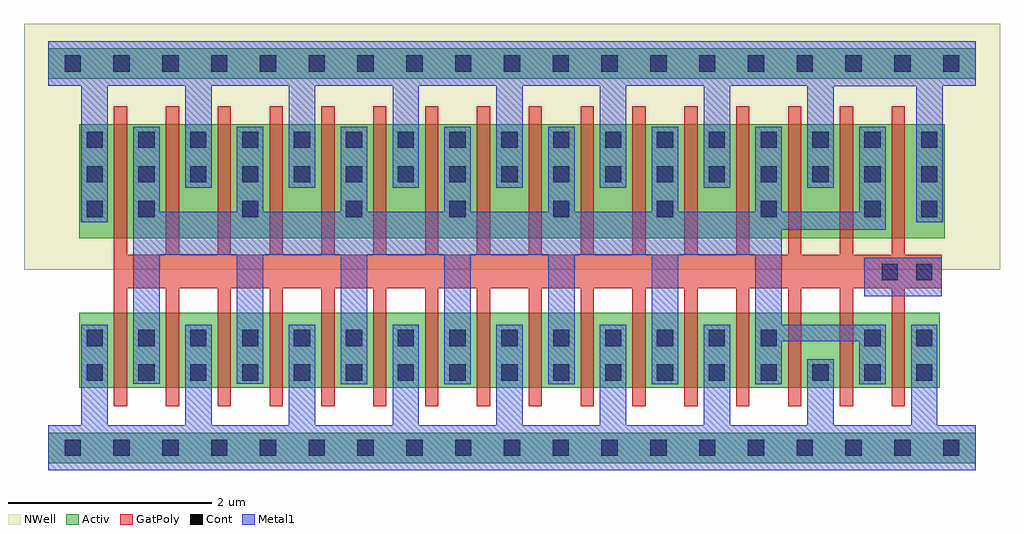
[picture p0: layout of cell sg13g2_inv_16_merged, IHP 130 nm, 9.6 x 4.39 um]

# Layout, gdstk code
import gdstk
lib = gdstk.Library(unit=1e-6, precision=1e-09)
def R(c, l, rs):  # rectangles x0, y0, x1, y1
    for r in rs: c.add(gdstk.rectangle(r[:2], r[2:], *l))
def A(c, l, x, y, w, h, nx, ny, dx, dy):  # array of equal rectangles
    R(c, l, [(x+i*dx, y+j*dy, x+i*dx+w, y+j*dy+h) for i in range(nx) for j in range(ny)])
def P(c, l, *ps):  # polygons
    for p in ps: c.add(gdstk.Polygon(p, *l))
Activ = (1, 0)
GatPoly = (5, 0)
Cont = (6, 0)
Metal1 = (8, 0)
NWell = (31, 0)

sg13g2_inv_16_merged = lib.new_cell('sg13g2_inv_16_merged')
R(sg13g2_inv_16_merged, Activ, [(0,-0.15,9.12,0.15), (0.305,0.59,8.765,1.33), (0.305,2.06,8.815,3.18), (0,3.63,9.12,3.93)])
P(sg13g2_inv_16_merged, GatPoly, [(0.645,0.41),(0.645,3.36),(0.775,3.36),(0.775,1.9),(1.155,1.9),(1.155,3.36),(1.285,3.36),(1.285,1.9),(1.665,1.9),(1.665,3.36),(1.795,3.36),(1.795,1.9),(2.175,1.9),(2.175,3.36),(2.305,3.36),(2.305,1.9),(2.685,1.9),(2.685,3.36),(2.815,3.36),(2.815,1.9),(3.195,1.9),(3.195,3.36),(3.325,3.36),(3.325,1.9),(3.705,1.9),(3.705,3.36),(3.835,3.36),(3.835,1.9),(4.215,1.9),(4.215,3.36),(4.345,3.36),(4.345,1.9),(4.725,1.9),(4.725,3.36),(4.855,3.36),(4.855,1.9),(5.235,1.9),(5.235,3.36),(5.365,3.36),(5.365,1.9),(5.745,1.9),(5.745,3.36),(5.875,3.36),(5.875,1.9),(6.255,1.9),(6.255,3.36),(6.385,3.36),(6.385,1.9),(6.765,1.9),(6.765,3.36),(6.895,3.36),(6.895,1.9),(7.275,1.9),(7.275,3.36),(7.405,3.36),(7.405,1.9),(7.785,1.9),(7.785,3.36),(7.915,3.36),(7.915,1.9),(8.295,1.9),(8.295,3.36),(8.425,3.36),(8.425,1.9),(8.785,1.9),(8.785,1.57),(8.425,1.57),(8.425,0.41),(8.295,0.41),(8.295,1.57),(7.915,1.57),(7.915,0.41),(7.785,0.41),(7.785,1.57),(7.405,1.57),(7.405,0.41),(7.275,0.41),(7.275,1.57),(6.895,1.57),(6.895,0.41),(6.765,0.41),(6.765,1.57),(6.385,1.57),(6.385,0.41),(6.255,0.41),(6.255,1.57),(5.875,1.57),(5.875,0.41),(5.745,0.41),(5.745,1.57),(5.365,1.57),(5.365,0.41),(5.235,0.41),(5.235,1.57),(4.855,1.57),(4.855,0.41),(4.725,0.41),(4.725,1.57),(4.345,1.57),(4.345,0.41),(4.215,0.41),(4.215,1.57),(3.835,1.57),(3.835,0.41),(3.705,0.41),(3.705,1.57),(3.325,1.57),(3.325,0.41),(3.195,0.41),(3.195,1.57),(2.815,1.57),(2.815,0.41),(2.685,0.41),(2.685,1.57),(2.305,1.57),(2.305,0.41),(2.175,0.41),(2.175,1.57),(1.795,1.57),(1.795,0.41),(1.665,0.41),(1.665,1.57),(1.285,1.57),(1.285,0.41),(1.155,0.41),(1.155,1.57),(0.775,1.57),(0.775,0.41)])
A(sg13g2_inv_16_merged, Cont, 0.16, -0.08, 0.16, 0.16, 19, 2, 0.48, 3.78)
A(sg13g2_inv_16_merged, Cont, 0.375, 0.66, 0.16, 0.16, 17, 1, 0.51, 0)
A(sg13g2_inv_16_merged, Cont, 0.375, 1, 0.16, 0.16, 14, 1, 0.51, 0)
A(sg13g2_inv_16_merged, Cont, 0.885, 2.27, 0.16, 0.16, 8, 1, 1.02, 0)
A(sg13g2_inv_16_merged, Cont, 8.585, 2.27, 0.16, 0.16, 1, 3, 0, 0.34)
A(sg13g2_inv_16_merged, Cont, 0.375, 2.61, 0.16, 0.16, 16, 2, 0.51, 0.34)
R(sg13g2_inv_16_merged, Cont, [(8.025,1,8.185,1.16), (8.535,1,8.695,1.16), (8.195,1.65,8.355,1.81), (8.535,1.65,8.695,1.81), (0.375,2.27,0.535,2.43)])
R(sg13g2_inv_16_merged, Metal1, [(8.025,1.49,8.785,1.87)])
P(sg13g2_inv_16_merged, Metal1, [(0,-0.22),(0,0.22),(0.325,0.22),(0.325,1.21),(0.585,1.21),(0.585,0.22),(1.345,0.22),(1.345,1.21),(1.605,1.21),(1.605,0.22),(2.365,0.22),(2.365,1.21),(2.625,1.21),(2.625,0.22),(3.385,0.22),(3.385,1.21),(3.645,1.21),(3.645,0.22),(4.405,0.22),(4.405,1.21),(4.665,1.21),(4.665,0.22),(5.425,0.22),(5.425,1.21),(5.685,1.21),(5.685,0.22),(6.445,0.22),(6.445,1.21),(6.705,1.21),(6.705,0.22),(7.465,0.22),(7.465,0.87),(7.725,0.87),(7.725,0.22),(8.485,0.22),(8.485,1.21),(8.745,1.21),(8.745,0.22),(9.12,0.22),(9.12,-0.22)],
  [(2.875,0.625),(2.875,1.9),(2.115,1.9),(2.115,0.63),(1.855,0.63),(1.855,1.9),(1.095,1.9),(1.095,0.63),(0.835,0.63),(0.835,3.16),(1.095,3.16),(1.095,2.32),(1.855,2.32),(1.855,3.16),(2.115,3.16),(2.115,2.32),(2.875,2.32),(2.875,3.16),(3.135,3.16),(3.135,2.32),(3.895,2.32),(3.895,3.16),(4.155,3.16),(4.155,2.32),(4.915,2.32),(4.915,3.16),(5.175,3.16),(5.175,2.32),(5.935,2.32),(5.935,3.16),(6.195,3.16),(6.195,2.32),(6.955,2.32),(6.955,3.16),(7.215,3.16),(7.215,2.32),(7.975,2.32),(7.975,3.16),(8.235,3.16),(8.235,2.145),(7.215,2.145),(7.215,1.21),(8.235,1.21),(8.235,0.625),(7.975,0.625),(7.975,1.05),(7.215,1.05),(7.215,0.625),(6.955,0.625),(6.955,1.9),(6.195,1.9),(6.195,0.625),(5.935,0.625),(5.935,1.9),(5.175,1.9),(5.175,0.625),(4.915,0.625),(4.915,1.9),(4.155,1.9),(4.155,0.625),(3.895,0.625),(3.895,1.9),(3.135,1.9),(3.135,0.625)],
  [(0.325,2.22),(0.325,3.56),(0,3.56),(0,4),(9.12,4),(9.12,3.56),(8.795,3.56),(8.795,2.22),(8.535,2.22),(8.535,3.555),(7.725,3.555),(7.725,2.56),(7.465,2.56),(7.465,3.56),(6.705,3.56),(6.705,2.56),(6.445,2.56),(6.445,3.56),(5.685,3.56),(5.685,2.56),(5.425,2.56),(5.425,3.56),(4.665,3.56),(4.665,2.56),(4.405,2.56),(4.405,3.56),(3.645,3.56),(3.645,2.56),(3.385,2.56),(3.385,3.56),(2.625,3.56),(2.625,2.56),(2.365,2.56),(2.365,3.56),(1.605,3.56),(1.605,2.56),(1.345,2.56),(1.345,3.56),(0.585,3.56),(0.585,2.22)])
R(sg13g2_inv_16_merged, NWell, [(-0.24,1.75,9.36,4.17)])

lib.write_gds('sg13g2_inv_16_merged.gds')
